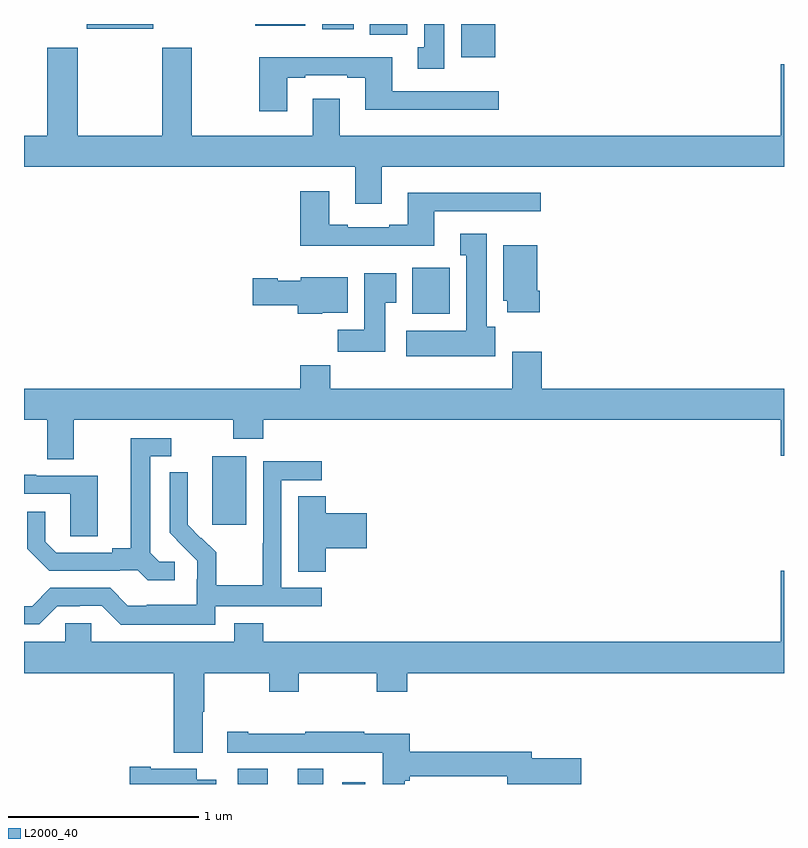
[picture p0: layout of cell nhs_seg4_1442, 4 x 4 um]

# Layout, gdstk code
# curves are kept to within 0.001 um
import gdstk
lib = gdstk.Library(unit=1e-6, precision=1e-09)
def R(c, l, rs):  # rectangles x0, y0, x1, y1
    for r in rs: c.add(gdstk.rectangle(r[:2], r[2:], *l))
def P(c, l, *ps):  # polygons
    for p in ps: c.add(gdstk.Polygon(p, *l))
L2000_40 = (2000, 40)

nhs_seg4_1442 = lib.new_cell('nhs_seg4_1442')
R(nhs_seg4_1442, L2000_40, [(186.125,798.9,186.283,798.98), (186.44,798.9,186.574,798.98), (186.674,798.9,186.796,798.91), (185.99,800.265,186.169,800.626), (187.043,801.374,187.24,801.616), (187.301,802.724,187.48,802.9), (186.821,802.844,187.018,802.9), (186.569,802.872,186.736,802.9), (185.33,802.874,185.68,802.9), (186.218,802.892,186.481,802.9)])
P(nhs_seg4_1442, L2000_40, [(187.213,802.9),(187.106,802.9),(187.106,802.778),(187.073,802.778),(187.073,802.665),(187.213,802.665)],
  [(186.883,802.148),(189,802.148),(189,802.687),(188.984,802.687),(188.984,802.312),(186.661,802.312),(186.661,802.507),(186.521,802.507),(186.521,802.312),(185.883,802.312),(185.883,802.774),(185.728,802.774),(185.728,802.312),(185.283,802.312),(185.283,802.774),(185.123,802.774),(185.123,802.312),(185,802.312),(185,802.148),(186.743,802.148),(186.743,801.954),(186.883,801.954)],
  [(186.385,802.617),(186.481,802.617),(186.481,802.629),(186.701,802.629),(186.701,802.617),(186.797,802.617),(186.797,802.448),(187.498,802.448),(187.498,802.545),(186.937,802.545),(186.937,802.726),(186.238,802.726),(186.238,802.44),(186.385,802.44)],
  [(187.159,801.915),(187.72,801.915),(187.72,802.012),(187.019,802.012),(187.019,801.844),(186.923,801.844),(186.923,801.831),(186.703,801.831),(186.703,801.844),(186.607,801.844),(186.607,802.021),(186.455,802.021),(186.455,801.734),(187.159,801.734)],
  [(187.48,801.306),(187.435,801.306),(187.435,801.796),(187.295,801.796),(187.295,801.683),(187.328,801.683),(187.328,801.286),(187.011,801.286),(187.011,801.152),(187.48,801.152)],
  [(187.715,801.496),(187.702,801.496),(187.702,801.736),(187.523,801.736),(187.523,801.444),(187.544,801.444),(187.544,801.384),(187.715,801.384)],
  [(186.901,801.433),(186.958,801.433),(186.958,801.589),(186.791,801.589),(186.791,801.292),(186.652,801.292),(186.652,801.174),(186.901,801.174)],
  [(186.57,801.38),(186.703,801.38),(186.703,801.568),(186.456,801.568),(186.456,801.55),(186.336,801.55),(186.336,801.563),(186.204,801.563),(186.204,801.421),(186.44,801.421),(186.44,801.374),(186.57,801.374)],
  [(185.263,800.816),(186.1,800.816),(186.1,800.717),(186.26,800.717),(186.26,800.816),(188.984,800.816),(188.984,800.628),(189,800.628),(189,800.98),(187.724,800.98),(187.724,801.175),(187.571,801.175),(187.571,800.98),(186.611,800.98),(186.611,801.104),(186.455,801.104),(186.455,800.98),(185,800.98),(185,800.816),(185.123,800.816),(185.123,800.608),(185.263,800.608)],
  [(185.794,800.07),(185.712,800.07),(185.665,800.117),(185.665,800.625),(185.776,800.625),(185.776,800.721),(185.561,800.721),(185.561,800.141),(185.465,800.141),(185.465,800.118),(185.17,800.118),(185.113,800.175),(185.113,800.332),(185.016,800.332),(185.016,800.138),(185.132,800.022),(185.504,800.022),(185.504,800.025),(185.598,800.025),(185.65,799.973),(185.794,799.973)],
  [(186.006,799.836),(186.568,799.836),(186.568,799.932),(186.354,799.932),(186.354,800.499),(186.568,800.499),(186.568,800.598),(186.258,800.598),(186.258,800.168),(186.256,800.168),(186.256,799.945),(186.011,799.945),(186.011,800.119),(185.934,800.196),(185.931,800.193),(185.861,800.264),(185.862,800.54),(185.766,800.54),(185.766,800.222),(185.912,800.074),(185.912,799.977),(185.91,799.977),(185.91,799.843),(185.647,799.843),(185.647,799.839),(185.547,799.839),(185.454,799.932),(185.139,799.932),(185.043,799.836),(185,799.836),(185,799.74),(185.079,799.74),(185.175,799.836),(185.294,799.836),(185.294,799.839),(185.409,799.839),(185.509,799.739),(186.006,799.739)],
  [(185.389,800.523),(185.065,800.523),(185.065,800.527),(185,800.527),(185,800.427),(185.244,800.427),(185.244,800.203),(185.389,800.203)],
  [(186.587,800.141),(186.805,800.141),(186.805,800.324),(186.587,800.324),(186.587,800.414),(186.443,800.414),(186.443,800.017),(186.587,800.017)],
  [(185.941,799.28),(185.949,799.28),(185.949,799.484),(186.292,799.484),(186.292,799.385),(186.447,799.385),(186.447,799.484),(186.856,799.484),(186.856,799.385),(187.016,799.385),(187.016,799.484),(189,799.484),(189,800.023),(188.984,800.023),(188.984,799.648),(186.26,799.648),(186.26,799.747),(186.107,799.747),(186.107,799.648),(185.355,799.648),(185.355,799.746),(185.217,799.746),(185.217,799.648),(185,799.648),(185,799.484),(185.789,799.484),(185.789,799.064),(185.941,799.064)],
  [(187.004,798.917),(187.031,798.917),(187.031,798.94),(187.544,798.94),(187.544,798.9),(187.933,798.9),(187.933,799.035),(187.672,799.035),(187.672,799.069),(187.031,799.069),(187.031,799.164),(186.791,799.164),(186.791,799.174),(186.481,799.174),(186.481,799.164),(186.181,799.164),(186.181,799.174),(186.069,799.174),(186.069,799.065),(186.678,799.065),(186.678,799.064),(186.888,799.064),(186.888,798.9),(187.004,798.9)],
  [(186.013,798.922),(185.908,798.922),(185.908,798.979),(185.668,798.979),(185.668,798.992),(185.556,798.992),(185.556,798.9),(186.013,798.9)])

lib.write_gds('nhs_seg4_1442.gds')
